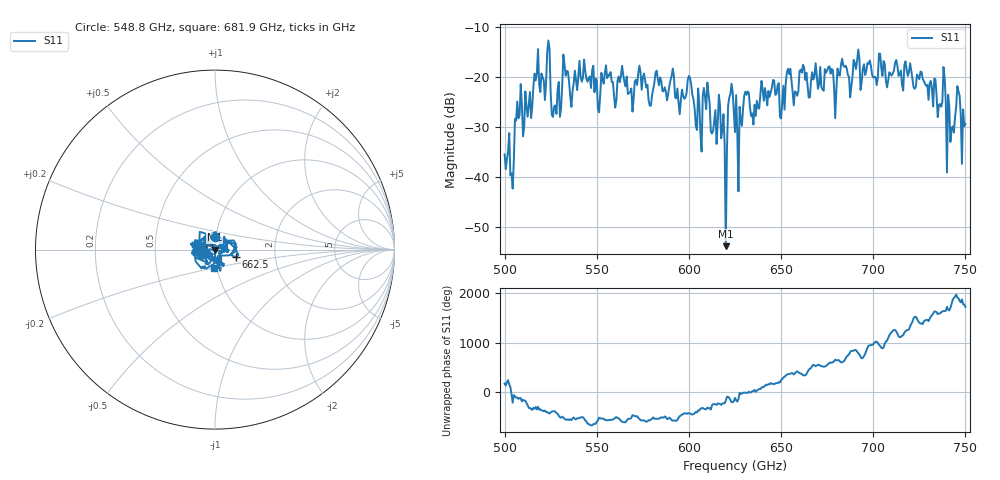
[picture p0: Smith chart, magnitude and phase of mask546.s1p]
!Created with skrf (http://scikit-rf.org).
# GHz S MA R 50.0
!freq magS11 angS11
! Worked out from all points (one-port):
!   401 points, 500 GHz to 750 GHz, reference 50 ohm
!   lowest |S11| = -53.8 dB at 620 GHz (marker M1), VSWR 1.00, Z = 49.8 - j0.0411 ohm
!   |S11| at or under -10 dB: start of sweep to end of sweep
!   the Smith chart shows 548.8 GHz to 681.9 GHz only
!   S11 on the Smith chart (normalised r, x): 548.8 GHz: 0.99, +0.14; 662.5 GHz: 1.26, -0.11; 681.9 GHz: 0.97, -0.20
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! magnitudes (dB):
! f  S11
! 500 GHz  -35.4
! 504.4 GHz  -42.3
! 507.5 GHz  -28.2
! 513.8 GHz  -22.9
! 516.9 GHz  -20.6
! 523.8 GHz  -12.6
! 526.9 GHz  -25.8
! 531.2 GHz  -21.7
! 548.8 GHz  -23.0
! 562.5 GHz  -21.0
! 593.8 GHz  -22.3
! 600.6 GHz  -20.2
! 605.6 GHz  -25.3
! 609.4 GHz  -26.4
! 620 GHz  -53.8
! 622.5 GHz  -23.4
! 625 GHz  -31.0
! 627.5 GHz  -25.9
! 631.2 GHz  -23.5
! 635 GHz  -29.5
! 656.2 GHz  -22.9
! 662.5 GHz  -18.1
! 681.9 GHz  -19.7
! 687.5 GHz  -24.0
! 718.8 GHz  -19.7
! 738.1 GHz  -18.0
! 741.2 GHz  -25.8
! 750 GHz  -29.3
